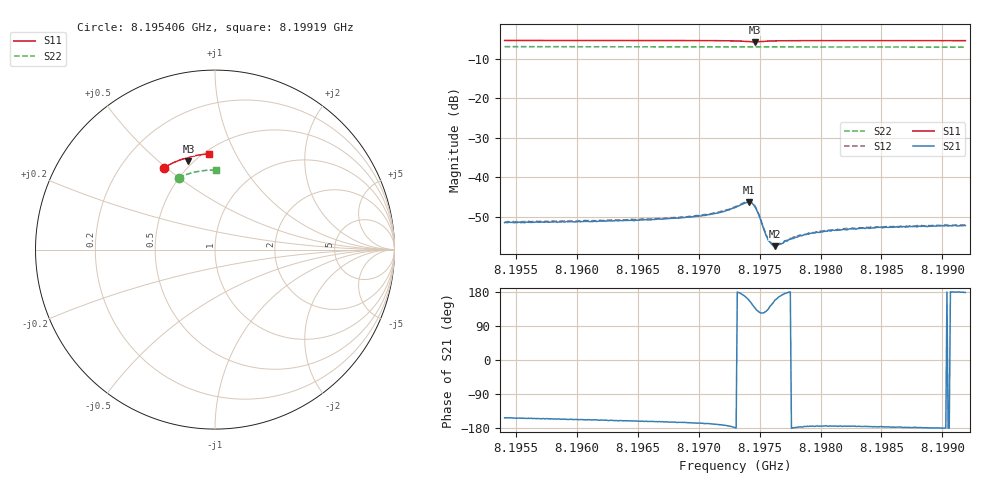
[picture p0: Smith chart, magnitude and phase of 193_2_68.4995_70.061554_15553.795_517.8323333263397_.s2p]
#  HZ  S  RI  R  50.00
! Rohde & Schwarz Vector Network Analyzer
! Rohde-Schwarz,ZNB20-2Port,1311601062101988,3.16
! Created: UTC 3/20/2024, 5:12:19 PM
! freq[Hz]  re:S11  im:S11  re:S21  im:S21  re:S12  im:S12  re:S22  im:S22
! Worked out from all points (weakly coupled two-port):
!   401 points, 8.195406 GHz to 8.19919 GHz, reference 50 ohm
!   highest |S21| = -46.33 dB at 8.197411 GHz (marker M1); lowest = -57.5 dB at 8.197629 GHz (marker M2)
!   lowest |S11| = -5.8 dB at 8.197458 GHz (marker M3), VSWR 3.12, Z = 23.6 + j31.6 ohm
!   |S11| at or under -10 dB: nowhere
!   |S22| runs from -7.1 to -7.0 dB; largest |S21 - S12| = 0.00027
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8.1954058e9  -0.2845 0.456  -0.00236 -0.00122  -0.00246 -0.00117  -0.2031 0.4005
8.1960396e9  -0.2448 0.4779  -0.00252 -0.00107  -0.00263 -0.000981  -0.1702 0.4144
8.1966734e9  -0.2032 0.4962  -0.00282 -0.000892  -0.00291 -0.000767  -0.1365 0.4255
8.1970328e9  -0.1775 0.5048  -0.0032 -0.000736  -0.00328 -0.00058  -0.1168 0.4308
8.1971558e9  -0.1675 0.5072  -0.00345 -0.000608  -0.00355 -0.000474  -0.11 0.4323
8.1972977e9  -0.154 0.5079  -0.00411 -0.000105  -0.00423 3.48e-05  -0.1021 0.4339
8.1973828e9  -0.1449 0.5025  -0.00458 0.00106  -0.00469 0.0013  -0.0974 0.4347
8.1974112e9  -0.1436 0.4983  -0.00447 0.00181  -0.00449 0.00202  -0.0958 0.4349
8.1974396e9  -0.1454 0.4943  -0.00387 0.00258  -0.00381 0.00278  -0.0944 0.4351
8.1974585e9  -0.148 0.4927  -0.0032 0.00284  -0.00317 0.00304  -0.0933 0.4352
8.1974869e9  -0.1526 0.4938  -0.00221 0.00273  -0.00211 0.00287  -0.092 0.4355
8.1975342e9  -0.1554 0.5004  -0.00123 0.00179  -0.0012 0.0019  -0.0895 0.4362
8.197572e9  -0.1536 0.5053  -0.00111 0.00112  -0.0011 0.00118  -0.0874 0.4366
8.1975909e9  -0.1522 0.5072  -0.00117 0.000872  -0.00114 0.000954  -0.0862 0.4368
8.1976099e9  -0.1509 0.5087  -0.00118 0.000665  -0.00119 0.000737  -0.0852 0.4372
8.1976288e9  -0.1491 0.5103  -0.00125 0.000476  -0.00126 0.000583  -0.0843 0.4373
8.1976761e9  -0.145 0.5128  -0.00141 0.000253  -0.00139 0.000302  -0.0815 0.4378
8.197799e9  -0.1349 0.5171  -0.00174 -5.27e-05  -0.00177 9.82e-06  -0.0746 0.4388
8.1979315e9  -0.1245 0.5201  -0.00195 -0.000192  -0.00196 -7.95e-05  -0.067 0.4397
8.1981963e9  -0.105 0.5244  -0.00215 -0.000217  -0.00224 -0.000109  -0.0521 0.4413
8.1985653e9  -0.0786 0.5289  -0.00231 -0.000141  -0.00236 -5.93e-05  -0.0313 0.4426
8.1991896e9  -0.0342 0.533  -0.00244 6.95e-05  -0.00249 0.000141  0.00397 0.4426
